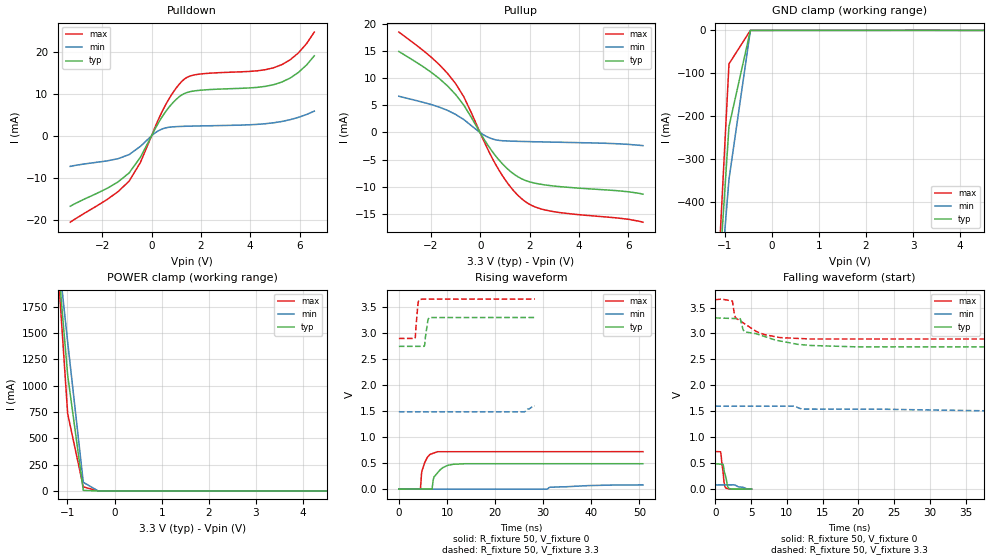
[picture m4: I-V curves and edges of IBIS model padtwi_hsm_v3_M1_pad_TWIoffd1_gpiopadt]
| [Disclaimer]
| (C) Copyright ATMEL Nantes 2002-2015
| Atmel Nantes makes no warranty for the use of its products, other than
| those expressly contained in the Company's standard warranty which is detailed
| in Atmel's Terms and Conditions located on the Company's web site. The Company
| assumes no responsability for any errors which may appear in this document.
| The user is granted this license only to use the IBIS model and is not granted
| rights to sell, load, rent, lease or license the IBIS model in whole or in part,
| or in modified form to anyone other than user. User may modify the IBIS model
| to suit its specific applications but rights to derivative works and such
| modifications shall belong to Atmel Nantes.
| This IBIS model is provided on an \"AS IS\" basis and Atmel Nantes makes
| absolutely no warranty with respect to the information contained herein.
| [Copyright] Copyright (c) 2002-2015 by ATMEL Nantes SA
| From samd21b_3t32.ibs, SAMD21_TQFP32, ATMEL Nantes SAS
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|   MODEL : padtwi_hsm_v3_M1_pad_TWIoffd1_gpiopadt
[Model] padtwi_hsm_v3_M1_pad_TWIoffd1_gpiopadt
Model_type I/O
Vinl  =  0.99
Vinh  =  2.31
Vmeas =  1.650
| Capacitance   typ   min   max
C_comp   2.36291568293e-12   2.32408753346e-12   2.52131883665e-12
| Variables   typ   min   max
[GND Clamp Reference]   0   0   0
[POWER Clamp Reference]   3.3   1.6   3.65
[Pulldown Reference]   0   0   0
[Pullup Reference]   3.3   1.6   3.65
[Temperature Range]   25   105   -40
[Voltage Range]   3.3   1.6   3.65
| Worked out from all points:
|   slope of the pulldown table from 0 to 0.495 V, typ, clamps not added: 96.6 ohm
|   slope of the pullup table from 0 to 0.495 V, typ, clamps not added: 143 ohm
|   falling waveform, R_fixture 50, V_fixture 0: 20-80 % time 449ps typ, 1.28ns min, 347ps max; typ from 0.488 V to 0.002 V
|   falling waveform, R_fixture 50, V_fixture 3.3: 20-80 % time 5.46ns typ, 27.3ns min, 3.14ns max; typ from 3.3 V to 2.74 V
|   rising waveform, R_fixture 50, V_fixture 0: 20-80 % time 1.81ns typ, 7.66ns min, 1.14ns max; typ from 0 V to 0.488 V
|   rising waveform, R_fixture 50, V_fixture 3.3: 20-80 % time 491ps typ, 1.24ns min, 404ps max; typ from 2.74 V to 3.29 V
[GND Clamp]
| Voltage   I(typ)   I(min)   I(max)
-3.3V     -4.288A    -3.659A    -5.225A
-1.364V   -989.3mA   -964.6mA   -1.051A
-909.1mV  -223.9mA   -346.9mA   -78.01mA
-454.5mV  -55.62uA   -152.9uA   -36.11uA
6.6V      0A         0A         0A
[POWER Clamp]
| Voltage   I(typ)   I(min)   I(max)
-3.3V     13.48A     11.29A     16.51A
-1.327V   2.843A     2.803A     2.962A
-995.5mV  1.1A       1.416A     734.4mA
-663.6mV  5.056mA    82.07mA    38.36mA
-350mV    102.6uA    84.7uA     658.2uA
6.6V      0A         0A         0A
[Pulldown]
| Voltage   I(typ)   I(min)   I(max)
-3.3V     -16.82mA   -7.308mA   -20.63mA
-1.818V   -12.6mA    -6.002mA   -15.27mA
-909.1mV  -8.851mA   -4.478mA   -10.82mA
-454.5mV  -5.143mA   -2.53mA    -6.388mA
154.7mV   1.788mA    736.3uA    2.254mA
567.2mV   5.737mA    1.88mA     7.367mA
979.7mV   8.585mA    2.179mA    11.25mA
1.341V    10.12mA    2.267mA    13.58mA
1.959V    10.87mA    2.352mA    14.73mA
4.959V    12.21mA    3.111mA    16.25mA
5.955V    15.12mA    4.394mA    19.78mA
6.6V      19.1mA     5.893mA    24.76mA
[Pullup]
| Voltage   I(typ)   I(min)   I(max)
-3.3V     14.93mA    6.677mA    18.5mA
-1.991V   11.1mA     5.149mA    13.89mA
-1.327V   8.583mA    4.07mA     10.9mA
-995.5mV  6.986mA    3.318mA    8.985mA
-663.6mV  5.027mA    2.373mA    6.562mA
103.1mV   -866.9uA   -345.6uA   -1.118mA
670.3mV   -4.574mA   -1.395mA   -6.242mA
1.238V    -7.224mA   -1.595mA   -10.1mA
1.753V    -8.69mA    -1.662mA   -12.48mA
2.217V    -9.342mA   -1.711mA   -13.71mA
2.888V    -9.821mA   -1.778mA   -14.52mA
6.6V      -11.37mA   -2.426mA   -16.54mA
[Ramp]
dV/dt_r   0.29303/1.81827n  49.0188m/7.71889n  0.435885/1.16791n
dV/dt_f   0.33636/5.54584n  69.7136m/27.9404n  0.455658/3.16737n
R_load = 50
[Falling Waveform]
R_fixture = 50
V_fixture = 0
V_fixture_min = 0
V_fixture_max = 0
| Time   V(typ)   V(min)   V(max)
0s        488.4mV    81.7mV     726.5mV
737.2ps   483mV      81.89mV    720.5mV
793.8ps   482.6mV    81.91mV    685mV
1.071ns   480.6mV    81.98mV    354.8mV
1.216ns   381.5mV    82.02mV    143.9mV
1.34ns    298.2mV    82.05mV    54.21mV
1.471ns   234.8mV    82.09mV    21.27mV
1.69ns    71.36mV    82.14mV    12.53mV
1.967ns   10.21mV    82.22mV    2.66mV
5.071ns   2.284mV    327.5uV    2.637mV
[Falling Waveform]
R_fixture = 50
V_fixture = 3.3
V_fixture_min = 1.6
V_fixture_max = 3.65
| Time   V(typ)   V(min)   V(max)
0s        3.3V       1.6V       3.65V
2.395ns   3.289V     1.6V       3.626V
2.832ns   3.288V     1.6V       3.301V
3.494ns   3.285V     1.6V       3.242V
3.879ns   3.075V     1.6V       3.207V
4.116ns   3.031V     1.6V       3.186V
5.77ns    2.993V     1.6V       3.036V
9.077ns   2.855V     1.599V     2.92V
19.69ns   2.743V     1.542V     2.894V
63.37ns   2.742V     1.486V     2.893V
[Rising Waveform]
R_fixture = 50
V_fixture = 0
V_fixture_min = 0
V_fixture_max = 0
| Time   V(typ)   V(min)   V(max)
0s        28.15nV    147.7nV    25.37nV
4.467ns   2.371mV    -36.85uV   2.805mV
4.784ns   2.54mV     -39.48uV   342.9mV
5.356ns   2.843mV    -44.21uV   506.4mV
6.905ns   3.665mV    -57.05uV   681mV
7.304ns   234.3mV    -60.34uV   694.6mV
7.986ns   307.3mV    -65.99uV   718mV
9.139ns   412.7mV    -75.55uV   718mV
11.27ns   477mV      -93.16uV   718.1mV
50.73ns   487.7mV    81.37mV    719mV
[Rising Waveform]
R_fixture = 50
V_fixture = 3.3
V_fixture_min = 1.6
V_fixture_max = 3.65
| Time   V(typ)   V(min)   V(max)
0s        2.739V     1.484V     2.891V
3.344ns   2.74V      1.484V     2.891V
3.432ns   2.74V      1.484V     2.924V
3.962ns   2.74V      1.484V     3.545V
4.241ns   2.74V      1.484V     3.635V
5.308ns   2.748V     1.484V     3.646V
6.02ns    3.228V     1.484V     3.646V
6.365ns   3.292V     1.484V     3.646V
26.13ns   3.293V     1.485V     3.647V
28.27ns   3.293V     1.599V     3.647V
